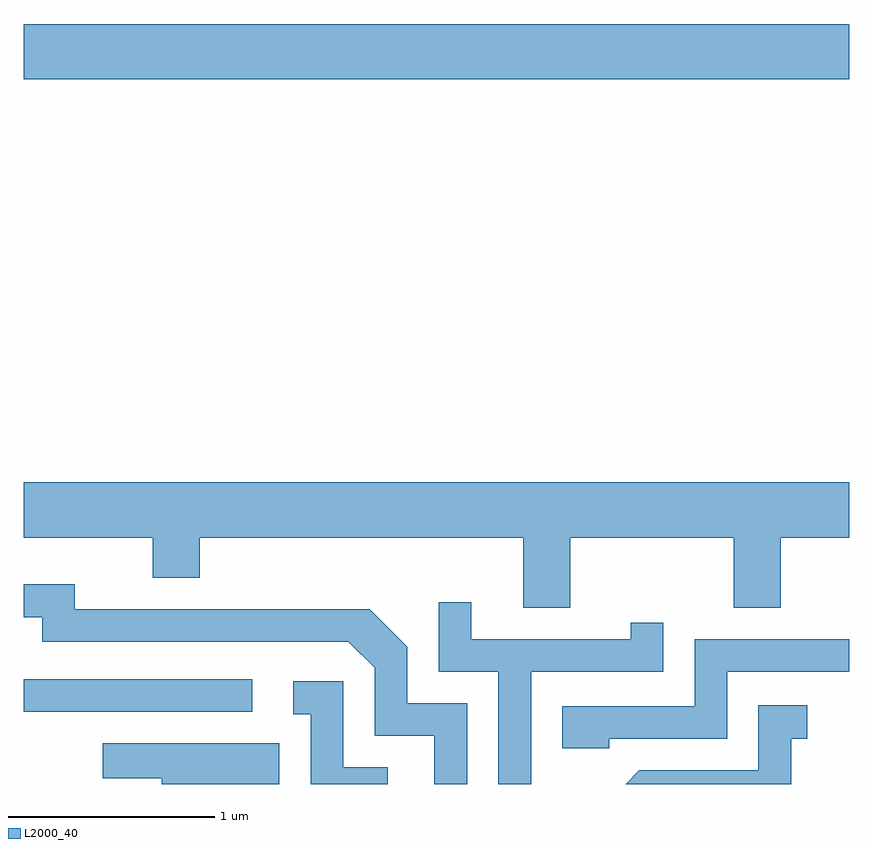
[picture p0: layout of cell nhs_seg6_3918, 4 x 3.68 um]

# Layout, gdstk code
import gdstk
lib = gdstk.Library(unit=1e-6, precision=1e-09)
def R(c, l, rs):  # rectangles x0, y0, x1, y1
    for r in rs: c.add(gdstk.rectangle(r[:2], r[2:], *l))
def P(c, l, *ps):  # polygons
    for p in ps: c.add(gdstk.Polygon(p, *l))
L2000_40 = (2000, 40)

nhs_seg6_3918 = lib.new_cell('nhs_seg6_3918')
R(nhs_seg6_3918, L2000_40, [(303.611,1562.511,304.718,1562.669), (303.611,1565.576,307.611,1565.844)])
P(nhs_seg6_3918, L2000_40, [(306.259,1563.356),(307.051,1563.356),(307.051,1563.016),(307.279,1563.016),(307.279,1563.356),(307.611,1563.356),(307.611,1563.624),(303.611,1563.624),(303.611,1563.356),(304.236,1563.356),(304.236,1563.161),(304.464,1563.161),(304.464,1563.356),(306.031,1563.356),(306.031,1563.016),(306.259,1563.016)],
  [(305.759,1562.554),(305.469,1562.554),(305.469,1562.827),(305.287,1563.009),(303.859,1563.009),(303.859,1563.129),(303.611,1563.129),(303.611,1562.971),(303.701,1562.971),(303.701,1562.851),(305.184,1562.851),(305.311,1562.724),(305.311,1562.396),(305.601,1562.396),(305.601,1562.162),(305.759,1562.162)],
  [(306.069,1562.706),(306.709,1562.706),(306.709,1562.943),(306.551,1562.943),(306.551,1562.864),(305.779,1562.864),(305.779,1563.043),(305.621,1563.043),(305.621,1562.706),(305.911,1562.706),(305.911,1562.162),(306.069,1562.162)],
  [(306.449,1562.381),(307.019,1562.381),(307.019,1562.706),(307.611,1562.706),(307.611,1562.864),(306.861,1562.864),(306.861,1562.539),(306.221,1562.539),(306.221,1562.336),(306.449,1562.336)],
  [(305.374,1562.244),(305.159,1562.244),(305.159,1562.659),(304.918,1562.659),(304.918,1562.501),(305.001,1562.501),(305.001,1562.162),(305.374,1562.162)],
  [(307.329,1562.381),(307.408,1562.381),(307.408,1562.544),(307.171,1562.544),(307.171,1562.229),(306.594,1562.229),(306.527,1562.162),(307.329,1562.162)],
  [(304.849,1562.359),(303.993,1562.359),(303.993,1562.191),(304.281,1562.191),(304.281,1562.162),(304.849,1562.162)])

lib.write_gds('nhs_seg6_3918.gds')
